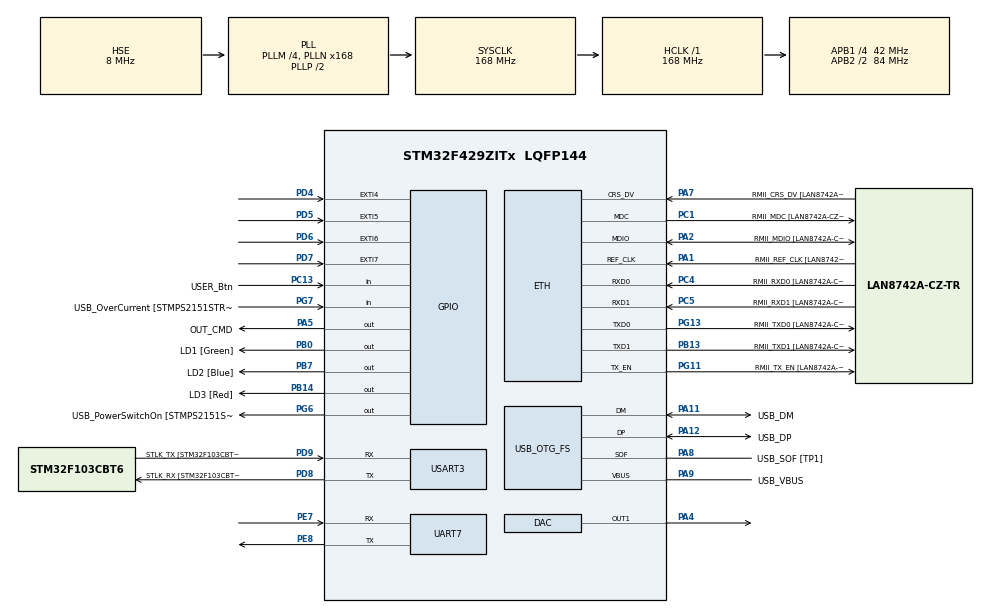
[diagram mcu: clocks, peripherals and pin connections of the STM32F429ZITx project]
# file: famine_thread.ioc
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Mcu.Family=STM32F4
RCC.CortexFreq_Value=168000000
PG6.Signal=GPIO_Output
PB14.GPIO_Label=LD3 [Red]
PG6.GPIO_Label=USB_PowerSwitchOn [STMPS2151STR_EN]
PA14.GPIO_Label=TCK
RCC.SYSCLKSourceVirtual=RCC_SYSCLKSOURCE_PLLCLK
PA11.Mode=Device_Only
PB0.GPIO_Label=LD1 [Green]
PC14/OSC32_IN.Mode=LSE-External-Oscillator
PC5.Mode=RMII
PC13.GPIO_Label=USER_Btn
PB13.GPIO_Label=RMII_TXD1 [LAN8742A-CZ-TR_TXD1]
PB13.Signal=ETH_TXD1
PG13.Signal=ETH_TXD0
PD9.Mode=Asynchronous
PG11.Signal=ETH_TX_EN
RCC.SYSCLKSource=RCC_SYSCLKSOURCE_PLLCLK
ProjectManager.StackSize=0x400
VP_FREERTOS_VS_CMSIS_V2.Mode=CMSIS_V2
PA12.Signal=USB_OTG_FS_DP
ETH.PHY_Value=0
PH0/OSC_IN.Mode=HSE-External-Clock-Source
RCC.HCLKFreq_Value=168000000
PD4.Signal=GPXTI4
RCC.APB2TimFreq_Value=168000000
PH1/OSC_OUT.Signal=RCC_OSC_OUT
PD8.Signal=USART3_TX
RCC.AHBFreq_Value=168000000
RCC.HSE_VALUE=8000000
RCC.PLLMUL=RCC_PLL_MUL9
PC4.GPIO_Label=RMII_RXD0 [LAN8742A-CZ-TR_RXD0]
PA14.Mode=Serial_Wire
PA10.GPIO_Label=USB_ID
PB7.Signal=GPIO_Output
PA8.Signal=USB_OTG_FS_SOF
PG13.Mode=RMII
ETH.PHY_Name=LAN8742A_PHY_ADDRESS
PH1/OSC_OUT.Mode=HSE-External-Clock-Source
PB7.GPIO_Label=LD2 [Blue]
Mcu.Package=LQFP144
PC14/OSC32_IN.Signal=RCC_OSC32_IN
PA2.GPIO_Label=RMII_MDIO [LAN8742A-CZ-TR_MDIO]
PA10.Signal=USB_OTG_FS_ID
USB_OTG_FS.VirtualMode=Device_Only
RCC.APB2CLKDivider=RCC_HCLK_DIV2
RCC.APB1TimFreq_Value=84000000
PG11.GPIO_Label=RMII_TX_EN [LAN8742A-CZ-TR_TXEN]
PC5.Signal=ETH_RXD1
PB13.Mode=RMII
PE7.Signal=UART7_RX
PD6.Signal=GPXTI6
PC4.Mode=RMII
SH.COMP_DAC1_group.0=DAC_OUT1,DAC_OUT1
NVIC.EXTI4_IRQn=true\:5\:0\:false\:false\:true\:true\:true\:true
FREERTOS.Tasks01=defaultTask,24,128,StartDefaultTask,Default,NULL,Dynamic,NULL,NULL;blink_green,24,128,blink_green_function,Default,NULL,Dynamic,NULL,NULL;blink_blue,24,128,blink_blue_function,Default,NULL,Dynamic,NULL,NULL;blink_red,24,128,blink_red_function,Default,NULL,Dynamic,NULL,NULL;other_task,40,128,other_task_function,Default,NULL,Dynamic,NULL,NULL
PA7.Mode=RMII
PG7.Signal=GPIO_Input
PD9.GPIO_Label=STLK_TX [STM32F103CBT6_PA2]
PC13.Signal=GPIO_Input
PA9.GPIO_Label=USB_VBUS
PC4.Signal=ETH_RXD0
PD7.Signal=GPXTI7
PA11.GPIO_Label=USB_DM
PD9.Signal=USART3_RX
PD5.Signal=GPXTI5
UART7.VirtualMode=Asynchronous
RCC.APB1CLKDivider=RCC_HCLK_DIV4
PG13.GPIO_Label=RMII_TXD0 [LAN8742A-CZ-TR_TXD0]
ETH.PhyAddress=0
PA12.GPIO_Label=USB_DP
PD8.GPIO_Label=STLK_RX [STM32F103CBT6_PA3]
PE8.Mode=Asynchronous
PA13.Signal=SYS_JTMS-SWDIO
PA9.Mode=Activate_VBUS
PA8.GPIO_Label=USB_SOF [TP1]
ProjectManager.TargetToolchain=TrueSTUDIO
PA9.Signal=USB_OTG_FS_VBUS
RCC.USBFreq_Value=48000000
PD8.Mode=Asynchronous
PA1.Signal=ETH_REF_CLK
PB14.Signal=GPIO_Output
PA5.Signal=GPIO_Output
board=NUCLEO-F429ZI
RCC.VCOOutputFreq_Value=336000000
PH0/OSC_IN.Signal=RCC_OSC_IN
RCC.APB2Freq_Value=84000000
PA1.Mode=RMII
RCC.PRESCALERUSB=RCC_USBCLKSOURCE_PLL_DIV1_5
PE8.Signal=UART7_TX
PG7.GPIO_Label=USB_OverCurrent [STMPS2151STR_FAULT]
PA1.GPIO_Label=RMII_REF_CLK [LAN8742A-CZ-TR_REFCLK0]
PC1.GPIO_Label=RMII_MDC [LAN8742A-CZ-TR_MDC]
PA13.Mode=Serial_Wire
Mcu.Name=STM32F429ZITx
PA2.Signal=ETH_MDIO
PA13.GPIO_Label=TMS
RCC.APB2TimCLKDivider=2
RCC.48MHZClocksFreq_Value=48000000
PA4.Signal=COMP_DAC1_group
RCC.SYSCLKFreq_VALUE=168000000
PE7.Mode=Asynchronous
ETH.MediaInterface=ETH_MEDIA_INTERFACE_RMII
PA7.GPIO_Label=RMII_CRS_DV [LAN8742A-CZ-TR_CRS_DV]
PA12.Mode=Device_Only
PA5.GPIO_Label=OUT_CMD
PC5.GPIO_Label=RMII_RXD1 [LAN8742A-CZ-TR_RXD1]
USART3.VirtualMode=VM_ASYNC
PC15/OSC32_OUT.Mode=LSE-External-Oscillator
PG11.Mode=RMII
PA11.Signal=USB_OTG_FS_DM
NVIC.EXTI9_5_IRQn=true\:5\:0\:false\:true\:true\:1\:true\:true\:true
PA14.Signal=SYS_JTCK-SWCLK
ProjectManager.HeapSize=0x200
RCC.HSI_VALUE=16000000
PH0/OSC_IN.GPIO_Label=MCO [STM32F103CBT6_PA8]
RCC.PLLQ=7
NVIC.PriorityGroup=NVIC_PRIORITYGROUP_4
RCC.PLLM=4
RCC.PLLN=168
PA2.Mode=RMII
PC15/OSC32_OUT.Signal=RCC_OSC32_OUT
PA8.Mode=Activate_SOF_FS
RCC.APB1Freq_Value=42000000
PB0.Signal=GPIO_Output
PC1.Signal=ETH_MDC
PC1.Mode=RMII
PA7.Signal=ETH_CRS_DV

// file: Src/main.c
/* USER CODE BEGIN Header */
/**
 ******************************************************************************
 * @file           : main.c
 * @brief          : Main program body
 ******************************************************************************
 * @attention
 *
 * <h2><center>&copy; Copyright (c) 2020 STMicroelectronics.
 * All rights reserved.</center></h2>
 *
 * This software component is licensed by ST under Ultimate Liberty license
 * SLA0044, the "License"; You may not use this file except in compliance with
 * the License. You may obtain a copy of the License at:
 *                             www.st.com/SLA0044
 *
 ******************************************************************************
 */
/* USER CODE END Header */

#include "main.h"
#include "cmsis_os.h"

/* USER CODE BEGIN Includes */
#include <stdbool.h>

/* USER CODE END Includes */

/* USER CODE BEGIN PD */
#define TIME_0_HIGH 1
#define TIME_0_LOW 11
#define TIME_1_HIGH 9
#define TIME_1_LOW 4
#define TIME_RESET 2000
/* USER CODE END PD */

DAC_HandleTypeDef hdac;

ETH_HandleTypeDef heth;

UART_HandleTypeDef huart7;
UART_HandleTypeDef huart3;

PCD_HandleTypeDef hpcd_USB_OTG_FS;

/* Definitions for defaultTask */
osThreadId_t defaultTaskHandle;
const osThreadAttr_t defaultTask_attributes = {
  .name = "defaultTask",
  .priority = (osPriority_t) osPriorityNormal,
  .stack_size = 128 * 4
};
/* Definitions for blink_green */
osThreadId_t blink_greenHandle;
const osThreadAttr_t blink_green_attributes = {
  .name = "blink_green",
  .priority = (osPriority_t) osPriorityNormal,
  .stack_size = 128 * 4
};
/* Definitions for blink_blue */
osThreadId_t blink_blueHandle;
const osThreadAttr_t blink_blue_attributes = {
  .name = "blink_blue",
  .priority = (osPriority_t) osPriorityNormal,
  .stack_size = 128 * 4
};
/* Definitions for blink_red */
osThreadId_t blink_redHandle;
const osThreadAttr_t blink_red_attributes = {
  .name = "blink_red",
  .priority = (osPriority_t) osPriorityNormal,
  .stack_size = 128 * 4
};
/* Definitions for other_task */
osThreadId_t other_taskHandle;
const osThreadAttr_t other_task_attributes = {
  .name = "other_task",
  .priority = (osPriority_t) osPriorityHigh,
  .stack_size = 128 * 4
};
/* USER CODE BEGIN PV */

bool flag_interrupt = false;

/* USER CODE END PV */

void SystemClock_Config(void);
static void MX_GPIO_Init(void);
static void MX_ETH_Init(void);
static void MX_USART3_UART_Init(void);
static void MX_USB_OTG_FS_PCD_Init(void);
static void MX_UART7_Init(void);
static void MX_DAC_Init(void);
void StartDefaultTask(void *argument);
void blink_green_function(void *argument);
void blink_blue_function(void *argument);
void blink_red_function(void *argument);
void other_task_function(void *argument);

static void MX_NVIC_Init(void);

int main(void)
{

  /* MCU Configuration--------------------------------------------------------*/

  /* Reset of all peripherals, Initializes the Flash interface and the Systick. */
  HAL_Init();

  /* Configure the system clock */
  SystemClock_Config();

  /* Initialize all configured peripherals */
  MX_GPIO_Init();
  MX_ETH_Init();
  MX_USART3_UART_Init();
  MX_USB_OTG_FS_PCD_Init();
  MX_UART7_Init();
  MX_DAC_Init();

  /* Initialize interrupts */
  MX_NVIC_Init();

  /* Init scheduler */
  osKernelInitialize();

  /* Create the thread(s) */
  /* creation of defaultTask */
  defaultTaskHandle = osThreadNew(StartDefaultTask, NULL, &defaultTask_attributes);

  /* creation of blink_green */
  blink_greenHandle = osThreadNew(blink_green_function, NULL, &blink_green_attributes);

  /* creation of blink_blue */
  blink_blueHandle = osThreadNew(blink_blue_function, NULL, &blink_blue_attributes);

  /* creation of blink_red */
  blink_redHandle = osThreadNew(blink_red_function, NULL, &blink_red_attributes);

  /* creation of other_task */
  other_taskHandle = osThreadNew(other_task_function, NULL, &other_task_attributes);

  /* Start scheduler */
  osKernelStart();

  /* We should never get here as control is now taken by the scheduler */
  /* Infinite loop */
	while (1)
	{

	}
}

void SystemClock_Config(void)
{
  RCC_OscInitTypeDef RCC_OscInitStruct = {0};
  RCC_ClkInitTypeDef RCC_ClkInitStruct = {0};

  /** Configure the main internal regulator output voltage
  */
  __HAL_RCC_PWR_CLK_ENABLE();
  __HAL_PWR_VOLTAGESCALING_CONFIG(PWR_REGULATOR_VOLTAGE_SCALE1);
  /** Initializes the CPU, AHB and APB busses clocks
  */
  RCC_OscInitStruct.OscillatorType = RCC_OSCILLATORTYPE_HSE;
  RCC_OscInitStruct.HSEState = RCC_HSE_BYPASS;
  RCC_OscInitStruct.PLL.PLLState = RCC_PLL_ON;
  RCC_OscInitStruct.PLL.PLLSource = RCC_PLLSOURCE_HSE;
  RCC_OscInitStruct.PLL.PLLM = 4;
  RCC_OscInitStruct.PLL.PLLN = 168;
  RCC_OscInitStruct.PLL.PLLP = RCC_PLLP_DIV2;
  RCC_OscInitStruct.PLL.PLLQ = 7;
  if (HAL_RCC_OscConfig(&RCC_OscInitStruct) != HAL_OK)
  {
    Error_Handler();
  }
  /** Initializes the CPU, AHB and APB busses clocks
  */
  RCC_ClkInitStruct.ClockType = RCC_CLOCKTYPE_HCLK|RCC_CLOCKTYPE_SYSCLK
                              |RCC_CLOCKTYPE_PCLK1|RCC_CLOCKTYPE_PCLK2;
  RCC_ClkInitStruct.SYSCLKSource = RCC_SYSCLKSOURCE_PLLCLK;
  RCC_ClkInitStruct.AHBCLKDivider = RCC_SYSCLK_DIV1;
  RCC_ClkInitStruct.APB1CLKDivider = RCC_HCLK_DIV4;
  RCC_ClkInitStruct.APB2CLKDivider = RCC_HCLK_DIV2;

  if (HAL_RCC_ClockConfig(&RCC_ClkInitStruct, FLASH_LATENCY_5) != HAL_OK)
  {
    Error_Handler();
  }
}

/**
  * @brief NVIC Configuration.
  * @retval None
  */
static void MX_NVIC_Init(void)
{
  /* EXTI9_5_IRQn interrupt configuration */
  HAL_NVIC_SetPriority(EXTI9_5_IRQn, 5, 0);
  HAL_NVIC_EnableIRQ(EXTI9_5_IRQn);
}

static void MX_DAC_Init(void)
{

  DAC_ChannelConfTypeDef sConfig = {0};

  /** DAC Initialization
  */
  hdac.Instance = DAC;
  if (HAL_DAC_Init(&hdac) != HAL_OK)
  {
    Error_Handler();
  }
  /** DAC channel OUT1 config
  */
  sConfig.DAC_Trigger = DAC_TRIGGER_NONE;
  sConfig.DAC_OutputBuffer = DAC_OUTPUTBUFFER_ENABLE;
  if (HAL_DAC_ConfigChannel(&hdac, &sConfig, DAC_CHANNEL_1) != HAL_OK)
  {
    Error_Handler();
  }

}

static void MX_ETH_Init(void)
{

  heth.Instance = ETH;
  heth.Init.AutoNegotiation = ETH_AUTONEGOTIATION_ENABLE;
  heth.Init.PhyAddress = LAN8742A_PHY_ADDRESS;
  heth.Init.MACAddr[0] =   0x00;
  heth.Init.MACAddr[1] =   0x80;
  heth.Init.MACAddr[2] =   0xE1;
  heth.Init.MACAddr[3] =   0x00;
  heth.Init.MACAddr[4] =   0x00;
  heth.Init.MACAddr[5] =   0x00;
  heth.Init.RxMode = ETH_RXPOLLING_MODE;
  heth.Init.ChecksumMode = ETH_CHECKSUM_BY_HARDWARE;
  heth.Init.MediaInterface = ETH_MEDIA_INTERFACE_RMII;

  if (HAL_ETH_Init(&heth) != HAL_OK)
  {
    Error_Handler();
  }

}

static void MX_UART7_Init(void)
{

  huart7.Instance = UART7;
  huart7.Init.BaudRate = 115200;
  huart7.Init.WordLength = UART_WORDLENGTH_8B;
  huart7.Init.StopBits = UART_STOPBITS_1;
  huart7.Init.Parity = UART_PARITY_NONE;
  huart7.Init.Mode = UART_MODE_TX_RX;
  huart7.Init.HwFlowCtl = UART_HWCONTROL_NONE;
  huart7.Init.OverSampling = UART_OVERSAMPLING_16;
  if (HAL_UART_Init(&huart7) != HAL_OK)
  {
    Error_Handler();
  }

}

static void MX_USART3_UART_Init(void)
{

  huart3.Instance = USART3;
  huart3.Init.BaudRate = 115200;
  huart3.Init.WordLength = UART_WORDLENGTH_8B;
  huart3.Init.StopBits = UART_STOPBITS_1;
  huart3.Init.Parity = UART_PARITY_NONE;
  huart3.Init.Mode = UART_MODE_TX_RX;
  huart3.Init.HwFlowCtl = UART_HWCONTROL_NONE;
  huart3.Init.OverSampling = UART_OVERSAMPLING_16;
  if (HAL_UART_Init(&huart3) != HAL_OK)
  {
    Error_Handler();
  }

}

static void MX_USB_OTG_FS_PCD_Init(void)
{

  hpcd_USB_OTG_FS.Instance = USB_OTG_FS;
  hpcd_USB_OTG_FS.Init.dev_endpoints = 4;
  hpcd_USB_OTG_FS.Init.speed = PCD_SPEED_FULL;
  hpcd_USB_OTG_FS.Init.dma_enable = DISABLE;
  hpcd_USB_OTG_FS.Init.phy_itface = PCD_PHY_EMBEDDED;
  hpcd_USB_OTG_FS.Init.Sof_enable = ENABLE;
  hpcd_USB_OTG_FS.Init.low_power_enable = DISABLE;
  hpcd_USB_OTG_FS.Init.lpm_enable = DISABLE;
  hpcd_USB_OTG_FS.Init.vbus_sensing_enable = ENABLE;
  hpcd_USB_OTG_FS.Init.use_dedicated_ep1 = DISABLE;
  if (HAL_PCD_Init(&hpcd_USB_OTG_FS) != HAL_OK)
  {
    Error_Handler();
  }

}

static void MX_GPIO_Init(void)
{
  GPIO_InitTypeDef GPIO_InitStruct = {0};

  /* GPIO Ports Clock Enable */
  __HAL_RCC_GPIOC_CLK_ENABLE();
  __HAL_RCC_GPIOH_CLK_ENABLE();
  __HAL_RCC_GPIOA_CLK_ENABLE();
  __HAL_RCC_GPIOB_CLK_ENABLE();
  __HAL_RCC_GPIOE_CLK_ENABLE();
  __HAL_RCC_GPIOD_CLK_ENABLE();
  __HAL_RCC_GPIOG_CLK_ENABLE();

  /*Configure GPIO pin Output Level */
  HAL_GPIO_WritePin(OUT_CMD_GPIO_Port, OUT_CMD_Pin, GPIO_PIN_RESET);

  /*Configure GPIO pin Output Level */
  HAL_GPIO_WritePin(GPIOB, LD1_Pin|LD3_Pin|LD2_Pin, GPIO_PIN_RESET);

  /*Configure GPIO pin Output Level */
  HAL_GPIO_WritePin(USB_PowerSwitchOn_GPIO_Port, USB_PowerSwitchOn_Pin, GPIO_PIN_RESET);

  /*Configure GPIO pin : USER_Btn_Pin */
  GPIO_InitStruct.Pin = USER_Btn_Pin;
  GPIO_InitStruct.Mode = GPIO_MODE_INPUT;
  GPIO_InitStruct.Pull = GPIO_NOPULL;
  HAL_GPIO_Init(USER_Btn_GPIO_Port, &GPIO_InitStruct);

  /*Configure GPIO pin : OUT_CMD_Pin */
  GPIO_InitStruct.Pin = OUT_CMD_Pin;
  GPIO_InitStruct.Mode = GPIO_MODE_OUTPUT_PP;
  GPIO_InitStruct.Pull = GPIO_NOPULL;
  GPIO_InitStruct.Speed = GPIO_SPEED_FREQ_LOW;
  HAL_GPIO_Init(OUT_CMD_GPIO_Port, &GPIO_InitStruct);

  /*Configure GPIO pins : LD1_Pin LD3_Pin LD2_Pin */
  GPIO_InitStruct.Pin = LD1_Pin|LD3_Pin|LD2_Pin;
  GPIO_InitStruct.Mode = GPIO_MODE_OUTPUT_PP;
  GPIO_InitStruct.Pull = GPIO_NOPULL;
  GPIO_InitStruct.Speed = GPIO_SPEED_FREQ_LOW;
  HAL_GPIO_Init(GPIOB, &GPIO_InitStruct);

  /*Configure GPIO pin : USB_PowerSwitchOn_Pin */
  GPIO_InitStruct.Pin = USB_PowerSwitchOn_Pin;
  GPIO_InitStruct.Mode = GPIO_MODE_OUTPUT_PP;
  GPIO_InitStruct.Pull = GPIO_NOPULL;
  GPIO_InitStruct.Speed = GPIO_SPEED_FREQ_LOW;
  HAL_GPIO_Init(USB_PowerSwitchOn_GPIO_Port, &GPIO_InitStruct);

  /*Configure GPIO pin : USB_OverCurrent_Pin */
  GPIO_InitStruct.Pin = USB_OverCurrent_Pin;
  GPIO_InitStruct.Mode = GPIO_MODE_INPUT;
  GPIO_InitStruct.Pull = GPIO_NOPULL;
  HAL_GPIO_Init(USB_OverCurrent_GPIO_Port, &GPIO_InitStruct);

  /*Configure GPIO pins : PD4 PD5 PD6 PD7 */
  GPIO_InitStruct.Pin = GPIO_PIN_4|GPIO_PIN_5|GPIO_PIN_6|GPIO_PIN_7;
  GPIO_InitStruct.Mode = GPIO_MODE_IT_RISING;
  GPIO_InitStruct.Pull = GPIO_NOPULL;
  HAL_GPIO_Init(GPIOD, &GPIO_InitStruct);

  /* EXTI interrupt init*/
  HAL_NVIC_SetPriority(EXTI4_IRQn, 5, 0);
  HAL_NVIC_EnableIRQ(EXTI4_IRQn);

}

/* USER CODE BEGIN 4 */

void HAL_GPIO_EXTI_Callback(uint16_t GPIO_Pin){
	if(GPIO_Pin == GPIO_PIN_4){
		flag_interrupt = true;
	}
}

void send(int data){
	int trame_length = 8;
	for (int i = 0; i < trame_length; i++){
		if (data == 0){
			HAL_GPIO_WritePin(OUT_CMD_GPIO_Port, OUT_CMD_Pin, 1);
			int j = TIME_0_HIGH;
			while (j --);
			HAL_GPIO_WritePin(OUT_CMD_GPIO_Port, OUT_CMD_Pin, 0);
			int k = TIME_0_LOW;
			while (k --);
		}
		else if(data == 1){
			HAL_GPIO_WritePin(OUT_CMD_GPIO_Port, OUT_CMD_Pin, 1);
			int j = TIME_1_HIGH;
			while (j --);
			HAL_GPIO_WritePin(OUT_CMD_GPIO_Port, OUT_CMD_Pin, 0);
			int k = TIME_1_LOW;
			while (k --);
		}
	}
	HAL_GPIO_WritePin(OUT_CMD_GPIO_Port, OUT_CMD_Pin, 1);
	HAL_GPIO_WritePin(OUT_CMD_GPIO_Port, OUT_CMD_Pin, 0);
}

/* USER CODE END 4 */

void StartDefaultTask(void *argument)
{
  /* USER CODE BEGIN 5 */
	//int time_reset = TIME_RESET;
	/* Infinite loop */
	for(;;)
	{
		if (flag_interrupt == true){
			char *message = "blabla\n\r";
			HAL_UART_Transmit(&huart7,(uint8_t *) message, 9, 100);
			osDelay(1);
			/*send(1);
			send(0);
			send(0);
			osDelay(500);
			send(0);
			send(0);
			send(1);
			osDelay(500);*/
		}

	}
  /* USER CODE END 5 */
}

void blink_green_function(void *argument)
{
  /* USER CODE BEGIN blink_green_function */
	/* Infinite loop */
	for(;;)
	{
		if (HAL_GPIO_ReadPin(USER_Btn_GPIO_Port, USER_Btn_Pin)){
			HAL_GPIO_TogglePin(LD1_GPIO_Port, LD1_Pin);
			osDelay(500);
			HAL_GPIO_TogglePin(LD1_GPIO_Port, LD1_Pin);
			osDelay(3000);
		}
		osDelay(1);
	}
  /* USER CODE END blink_green_function */
}

void blink_blue_function(void *argument)
{
  /* USER CODE BEGIN blink_blue_function */
	//int delay = 250;
	/* Infinite loop */
	for(;;)
	{
		/*HAL_GPIO_TogglePin(LD2_GPIO_Port, LD2_Pin);
		osDelay(delay);
		HAL_GPIO_TogglePin(LD2_GPIO_Port, LD2_Pin);
		osDelay(delay);*/
		osDelay(1);
	}
  /* USER CODE END blink_blue_function */
}

void blink_red_function(void *argument)
{
  /* USER CODE BEGIN blink_red_function */
	//int delay = 166;
	/* Infinite loop */
	for(;;)
	{
		/*HAL_GPIO_TogglePin(LD3_GPIO_Port, LD3_Pin);
		osDelay(delay);
		HAL_GPIO_TogglePin(LD3_GPIO_Port, LD3_Pin);
		osDelay(delay);*/
		osDelay(1);
	}
  /* USER CODE END blink_red_function */
}

void other_task_function(void *argument)
{
  /* USER CODE BEGIN other_task_function */
	/* Infinite loop */
	for(;;)
	{
		osDelay(1);
		//HAL_Delay(1);
	}

  /* USER CODE END other_task_function */
}

void Error_Handler(void)
{
}

/************************ (C) COPYRIGHT STMicroelectronics *****END OF FILE****/
